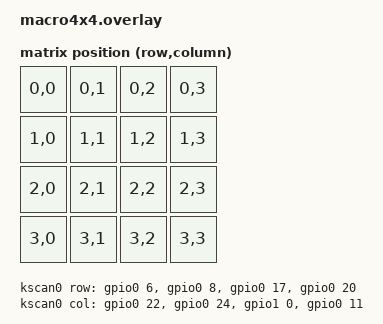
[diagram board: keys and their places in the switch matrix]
#include <dt-bindings/zmk/matrix_transform.h>

/ {
    chosen {
        zmk,kscan = &kscan0;
        zmk,matrix-transform = &default_transform;
    };

    kscan0: kscan {   // Define the macropad_4x4 node
        compatible = "zmk,kscan-gpio-matrix";  // Compatible property for macropad
        label = "KSCAN";
        diode-direction = "row2col";

        row-gpios = <&gpio0 6 (GPIO_PULL_UP | GPIO_ACTIVE_LOW)>, // P0.06
            <&gpio0 8 (GPIO_PULL_UP | GPIO_ACTIVE_LOW)>, // P0.08
            <&gpio0 17 (GPIO_PULL_UP | GPIO_ACTIVE_LOW)>, // P0.17
            <&gpio0 20 (GPIO_PULL_UP | GPIO_ACTIVE_LOW)>; // P0.20 

        col-gpios = <&gpio0 22 GPIO_ACTIVE_LOW>, // P0.22
            <&gpio0 24 GPIO_ACTIVE_LOW>, // P0.24
            <&gpio1 0 GPIO_ACTIVE_LOW>, // P1.00 
            <&gpio0 11 GPIO_ACTIVE_LOW>; // P0.11
    };

    default_transform: keymap_transform_0 {
        compatible = "zmk,matrix-transform";
        rows = <4>;
        columns = <4>;
        map = <
            RC(0,0) RC(0,1) RC(0,2) RC(0,3)  
            RC(1,0) RC(1,1) RC(1,2) RC(1,3)  
            RC(2,0) RC(2,1) RC(2,2) RC(2,3) 
            RC(3,0) RC(3,1) RC(3,2) RC(3,3)  
        >;
    };

    

};


